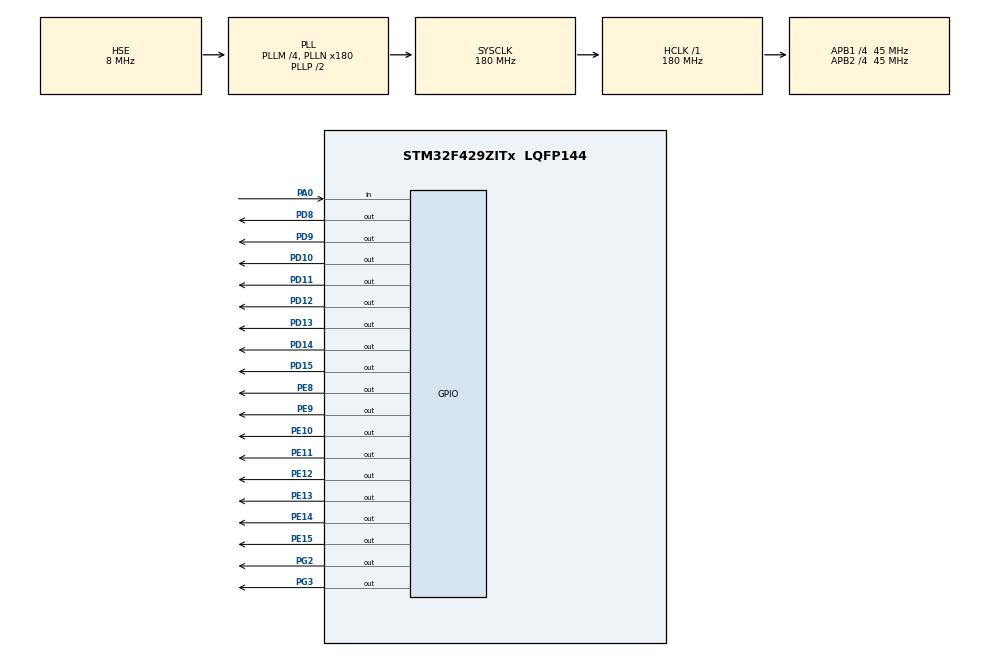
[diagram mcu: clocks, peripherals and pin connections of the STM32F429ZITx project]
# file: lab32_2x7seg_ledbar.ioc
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Mcu.Family=STM32F4
Mcu.Name=STM32F429ZITx
Mcu.Package=LQFP144
NVIC.PriorityGroup=NVIC_PRIORITYGROUP_4
NVIC.TIM6_DAC_IRQn=true\:0\:0\:false\:false\:true\:true\:true\:true
PA0/WKUP.Signal=GPIO_Input
PA13.Mode=Serial_Wire
PA13.Signal=SYS_JTMS-SWDIO
PA14.Mode=Serial_Wire
PA14.Signal=SYS_JTCK-SWCLK
PD10.Signal=GPIO_Output
PD11.Signal=GPIO_Output
PD12.Signal=GPIO_Output
PD13.Signal=GPIO_Output
PD14.Signal=GPIO_Output
PD15.Signal=GPIO_Output
PD8.Signal=GPIO_Output
PD9.Signal=GPIO_Output
PE10.Signal=GPIO_Output
PE11.Signal=GPIO_Output
PE12.Signal=GPIO_Output
PE13.Signal=GPIO_Output
PE14.Signal=GPIO_Output
PE15.Signal=GPIO_Output
PE8.Signal=GPIO_Output
PE9.Signal=GPIO_Output
PG2.Signal=GPIO_Output
PG3.Signal=GPIO_Output
PH0/OSC_IN.Mode=HSE-External-Oscillator
PH0/OSC_IN.Signal=RCC_OSC_IN
PH1/OSC_OUT.Mode=HSE-External-Oscillator
PH1/OSC_OUT.Signal=RCC_OSC_OUT
ProjectManager.HeapSize=0x200
ProjectManager.StackSize=0x400
ProjectManager.TargetToolchain=STM32CubeIDE
RCC.48MHZClocksFreq_Value=90000000
RCC.AHBFreq_Value=180000000
RCC.APB1CLKDivider=RCC_HCLK_DIV4
RCC.APB1Freq_Value=45000000
RCC.APB1TimFreq_Value=90000000
RCC.APB2CLKDivider=RCC_HCLK_DIV4
RCC.APB2Freq_Value=45000000
RCC.APB2TimFreq_Value=90000000
RCC.CortexFreq_Value=180000000
RCC.HCLKFreq_Value=180000000
RCC.HSE_VALUE=8000000
RCC.HSI_VALUE=16000000
RCC.LSE_VALUE=32768
RCC.PLLM=4
RCC.PLLN=180
RCC.PLLSourceVirtual=RCC_PLLSOURCE_HSE
RCC.SYSCLKFreq_VALUE=180000000
RCC.SYSCLKSource=RCC_SYSCLKSOURCE_PLLCLK
RCC.VCOOutputFreq_Value=360000000
TIM6.Period=99
TIM6.Prescaler=89
VP_TIM6_VS_ClockSourceINT.Mode=Enable_Timer
board=custom

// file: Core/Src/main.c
/* USER CODE BEGIN Header */
/**
  ******************************************************************************
  * @file           : main.c
  * @brief          : Main program body
  ******************************************************************************
  * @attention
  *
  * Copyright (c) 2026 STMicroelectronics.
  * All rights reserved.
  *
  * This software is licensed under terms that can be found in the LICENSE file
  * in the root directory of this software component.
  * If no LICENSE file comes with this software, it is provided AS-IS.
  *
  ******************************************************************************
  */
/* USER CODE END Header */
#include "main.h"

/* USER CODE BEGIN Includes */
#include "7seg.h"
/* USER CODE END Includes */

TIM_HandleTypeDef htim6;

/* USER CODE BEGIN PV */
uint8_t LED_Value = 1;
uint8_t display_value = 25;

GPIO_PinState b1_last_state = GPIO_PIN_RESET;
uint32_t b1_last_tick = 0;
/* USER CODE END PV */

void SystemClock_Config(void);
static void MX_GPIO_Init(void);
static void MX_TIM6_Init(void);

/* USER CODE BEGIN 0 */
void DisplayLEDs(int mode)
{
  if (mode == 1)
  {
    LED_Value = (uint8_t)((LED_Value >> 1) | (LED_Value << 7));
  }

  if (LED_Value & 0x80)
    HAL_GPIO_WritePin(GPIOD, GPIO_PIN_15, GPIO_PIN_SET);
  else
    HAL_GPIO_WritePin(GPIOD, GPIO_PIN_15, GPIO_PIN_RESET);

  if (LED_Value & 0x40)
    HAL_GPIO_WritePin(GPIOD, GPIO_PIN_14, GPIO_PIN_SET);
  else
    HAL_GPIO_WritePin(GPIOD, GPIO_PIN_14, GPIO_PIN_RESET);

  if (LED_Value & 0x20)
    HAL_GPIO_WritePin(GPIOD, GPIO_PIN_13, GPIO_PIN_SET);
  else
    HAL_GPIO_WritePin(GPIOD, GPIO_PIN_13, GPIO_PIN_RESET);

  if (LED_Value & 0x10)
    HAL_GPIO_WritePin(GPIOD, GPIO_PIN_12, GPIO_PIN_SET);
  else
    HAL_GPIO_WritePin(GPIOD, GPIO_PIN_12, GPIO_PIN_RESET);

  if (LED_Value & 0x08)
    HAL_GPIO_WritePin(GPIOD, GPIO_PIN_11, GPIO_PIN_SET);
  else
    HAL_GPIO_WritePin(GPIOD, GPIO_PIN_11, GPIO_PIN_RESET);

  if (LED_Value & 0x04)
    HAL_GPIO_WritePin(GPIOD, GPIO_PIN_10, GPIO_PIN_SET);
  else
    HAL_GPIO_WritePin(GPIOD, GPIO_PIN_10, GPIO_PIN_RESET);

  if (LED_Value & 0x02)
    HAL_GPIO_WritePin(GPIOD, GPIO_PIN_9, GPIO_PIN_SET);
  else
    HAL_GPIO_WritePin(GPIOD, GPIO_PIN_9, GPIO_PIN_RESET);

  if (LED_Value & 0x01)
    HAL_GPIO_WritePin(GPIOD, GPIO_PIN_8, GPIO_PIN_SET);
  else
    HAL_GPIO_WritePin(GPIOD, GPIO_PIN_8, GPIO_PIN_RESET);
}
/* USER CODE END 0 */

int main(void)
{

  /* MCU Configuration--------------------------------------------------------*/

  /* Reset of all peripherals, Initializes the Flash interface and the Systick. */
  HAL_Init();

  /* Configure the system clock */
  SystemClock_Config();

  /* Initialize all configured peripherals */
  MX_GPIO_Init();
  MX_TIM6_Init();
  /* USER CODE BEGIN 2 */
  HAL_TIM_Base_Start_IT(&htim6);
  Set7SegDisplayValue(display_value);
  /* USER CODE END 2 */

  /* Infinite loop */
  while (1)
  {

    /* USER CODE BEGIN 3 */
	  HAL_Delay(5);
	  DisplayLEDs(1);
	  Run7SegDisplay();

	  /* B1 = PA0, mỗi lần bấm tăng 1 đơn vị */
	  GPIO_PinState b1_now = HAL_GPIO_ReadPin(GPIOA, GPIO_PIN_0);

	  /* phát hiện cạnh lên + chống dội 200 ms */
	  if ((b1_now == GPIO_PIN_SET) &&
	      (b1_last_state == GPIO_PIN_RESET) &&
	      (HAL_GetTick() - b1_last_tick > 200))
	  {
	      display_value++;
	      if (display_value > 99)
	      {
	          display_value = 0;
	      }

	      Set7SegDisplayValue(display_value);
	      b1_last_tick = HAL_GetTick();
	  }

	  b1_last_state = b1_now;
	    /* tắt cả 2 digit trước */
//	    HAL_GPIO_WritePin(GPIOG, GPIO_PIN_2, GPIO_PIN_RESET);
//	    HAL_GPIO_WritePin(GPIOG, GPIO_PIN_3, GPIO_PIN_RESET);
//
//	    /* tắt toàn bộ segment */
//	    HAL_GPIO_WritePin(GPIOE, GPIO_PIN_8  | GPIO_PIN_9  | GPIO_PIN_10 | GPIO_PIN_11 |
//	                             GPIO_PIN_12 | GPIO_PIN_13 | GPIO_PIN_14 | GPIO_PIN_15,
//	                             GPIO_PIN_RESET);
//
//	    /* chỉ bật segment f = PE13 */
//	    HAL_GPIO_WritePin(GPIOE, GPIO_PIN_13, GPIO_PIN_SET);
//
//	    /* chỉ bật digit phải = PG3 */
//	    HAL_GPIO_WritePin(GPIOG, GPIO_PIN_2 | GPIO_PIN_3, GPIO_PIN_SET);
//
//	    HAL_Delay(100);
  }
  /* USER CODE END 3 */
}

void SystemClock_Config(void)
{
  RCC_OscInitTypeDef RCC_OscInitStruct = {0};
  RCC_ClkInitTypeDef RCC_ClkInitStruct = {0};

  /** Configure the main internal regulator output voltage
  */
  __HAL_RCC_PWR_CLK_ENABLE();
  __HAL_PWR_VOLTAGESCALING_CONFIG(PWR_REGULATOR_VOLTAGE_SCALE1);

  /** Initializes the RCC Oscillators according to the specified parameters
  * in the RCC_OscInitTypeDef structure.
  */
  RCC_OscInitStruct.OscillatorType = RCC_OSCILLATORTYPE_HSE;
  RCC_OscInitStruct.HSEState = RCC_HSE_ON;
  RCC_OscInitStruct.PLL.PLLState = RCC_PLL_ON;
  RCC_OscInitStruct.PLL.PLLSource = RCC_PLLSOURCE_HSE;
  RCC_OscInitStruct.PLL.PLLM = 4;
  RCC_OscInitStruct.PLL.PLLN = 180;
  RCC_OscInitStruct.PLL.PLLP = RCC_PLLP_DIV2;
  RCC_OscInitStruct.PLL.PLLQ = 4;
  if (HAL_RCC_OscConfig(&RCC_OscInitStruct) != HAL_OK)
  {
    Error_Handler();
  }

  /** Activate the Over-Drive mode
  */
  if (HAL_PWREx_EnableOverDrive() != HAL_OK)
  {
    Error_Handler();
  }

  /** Initializes the CPU, AHB and APB buses clocks
  */
  RCC_ClkInitStruct.ClockType = RCC_CLOCKTYPE_HCLK|RCC_CLOCKTYPE_SYSCLK
                              |RCC_CLOCKTYPE_PCLK1|RCC_CLOCKTYPE_PCLK2;
  RCC_ClkInitStruct.SYSCLKSource = RCC_SYSCLKSOURCE_PLLCLK;
  RCC_ClkInitStruct.AHBCLKDivider = RCC_SYSCLK_DIV1;
  RCC_ClkInitStruct.APB1CLKDivider = RCC_HCLK_DIV4;
  RCC_ClkInitStruct.APB2CLKDivider = RCC_HCLK_DIV4;

  if (HAL_RCC_ClockConfig(&RCC_ClkInitStruct, FLASH_LATENCY_5) != HAL_OK)
  {
    Error_Handler();
  }
}

static void MX_TIM6_Init(void)
{

  TIM_MasterConfigTypeDef sMasterConfig = {0};

  htim6.Instance = TIM6;
  htim6.Init.Prescaler = 89;
  htim6.Init.CounterMode = TIM_COUNTERMODE_UP;
  htim6.Init.Period = 99;
  htim6.Init.AutoReloadPreload = TIM_AUTORELOAD_PRELOAD_DISABLE;
  if (HAL_TIM_Base_Init(&htim6) != HAL_OK)
  {
    Error_Handler();
  }
  sMasterConfig.MasterOutputTrigger = TIM_TRGO_RESET;
  sMasterConfig.MasterSlaveMode = TIM_MASTERSLAVEMODE_DISABLE;
  if (HAL_TIMEx_MasterConfigSynchronization(&htim6, &sMasterConfig) != HAL_OK)
  {
    Error_Handler();
  }

}

static void MX_GPIO_Init(void)
{
  GPIO_InitTypeDef GPIO_InitStruct = {0};

  /* GPIO Ports Clock Enable */
  __HAL_RCC_GPIOH_CLK_ENABLE();
  __HAL_RCC_GPIOA_CLK_ENABLE();
  __HAL_RCC_GPIOE_CLK_ENABLE();
  __HAL_RCC_GPIOD_CLK_ENABLE();
  __HAL_RCC_GPIOG_CLK_ENABLE();

  /*Configure GPIO pin Output Level */
  HAL_GPIO_WritePin(GPIOE, GPIO_PIN_8|GPIO_PIN_9|GPIO_PIN_10|GPIO_PIN_11
                          |GPIO_PIN_12|GPIO_PIN_13|GPIO_PIN_14|GPIO_PIN_15, GPIO_PIN_RESET);

  /*Configure GPIO pin Output Level */
  HAL_GPIO_WritePin(GPIOD, GPIO_PIN_8|GPIO_PIN_9|GPIO_PIN_10|GPIO_PIN_11
                          |GPIO_PIN_12|GPIO_PIN_13|GPIO_PIN_14|GPIO_PIN_15, GPIO_PIN_RESET);

  /*Configure GPIO pin Output Level */
  HAL_GPIO_WritePin(GPIOG, GPIO_PIN_2|GPIO_PIN_3, GPIO_PIN_RESET);

  /*Configure GPIO pin : PA0 */
  GPIO_InitStruct.Pin = GPIO_PIN_0;
  GPIO_InitStruct.Mode = GPIO_MODE_INPUT;
  GPIO_InitStruct.Pull = GPIO_NOPULL;
  HAL_GPIO_Init(GPIOA, &GPIO_InitStruct);

  /*Configure GPIO pins : PE8 PE9 PE10 PE11
                           PE12 PE13 PE14 PE15 */
  GPIO_InitStruct.Pin = GPIO_PIN_8|GPIO_PIN_9|GPIO_PIN_10|GPIO_PIN_11
                          |GPIO_PIN_12|GPIO_PIN_13|GPIO_PIN_14|GPIO_PIN_15;
  GPIO_InitStruct.Mode = GPIO_MODE_OUTPUT_PP;
  GPIO_InitStruct.Pull = GPIO_NOPULL;
  GPIO_InitStruct.Speed = GPIO_SPEED_FREQ_LOW;
  HAL_GPIO_Init(GPIOE, &GPIO_InitStruct);

  /*Configure GPIO pins : PD8 PD9 PD10 PD11
                           PD12 PD13 PD14 PD15 */
  GPIO_InitStruct.Pin = GPIO_PIN_8|GPIO_PIN_9|GPIO_PIN_10|GPIO_PIN_11
                          |GPIO_PIN_12|GPIO_PIN_13|GPIO_PIN_14|GPIO_PIN_15;
  GPIO_InitStruct.Mode = GPIO_MODE_OUTPUT_PP;
  GPIO_InitStruct.Pull = GPIO_NOPULL;
  GPIO_InitStruct.Speed = GPIO_SPEED_FREQ_LOW;
  HAL_GPIO_Init(GPIOD, &GPIO_InitStruct);

  /*Configure GPIO pins : PG2 PG3 */
  GPIO_InitStruct.Pin = GPIO_PIN_2|GPIO_PIN_3;
  GPIO_InitStruct.Mode = GPIO_MODE_OUTPUT_PP;
  GPIO_InitStruct.Pull = GPIO_NOPULL;
  GPIO_InitStruct.Speed = GPIO_SPEED_FREQ_LOW;
  HAL_GPIO_Init(GPIOG, &GPIO_InitStruct);

}

void Error_Handler(void)
{
  __disable_irq();
  while (1)
  {
  }
}
